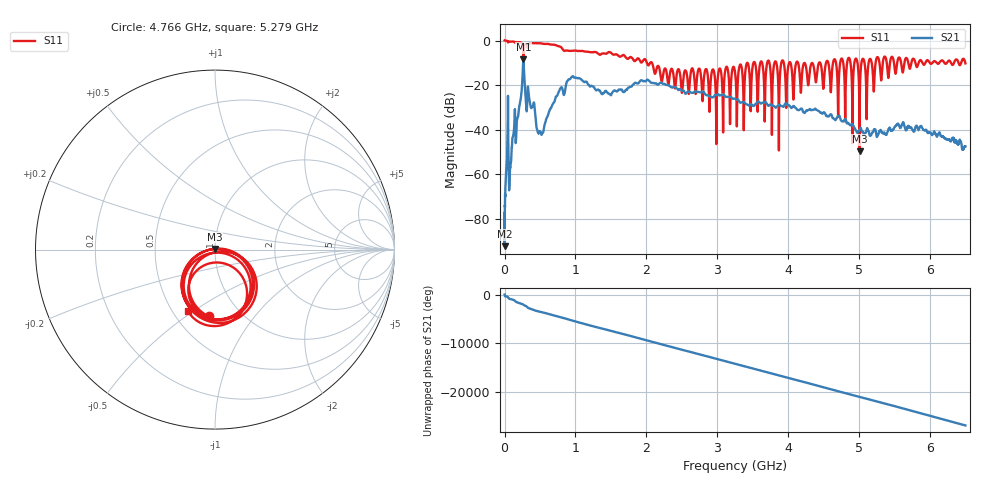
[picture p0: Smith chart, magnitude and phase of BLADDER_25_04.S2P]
!Keysight Technologies,E5063A,MY54503115,A.05.08
!Date: Sun Feb 04 18:21:10 2024
!Data & Calibration Information:
!Freq	S11:NONE(--)	S21:NONE(--)	S12:NONE(--)	S22:NONE(--)
# Hz S dB R 50
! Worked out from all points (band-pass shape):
!   10001 points, 100 kHz to 6.5 GHz, reference 50 ohm
!   highest |S21| = -8.34 dB at 264 MHz (marker M1); lowest = -92.2 dB at 750 kHz (marker M2)
!   |S21| within 3 dB of the highest: 259 MHz to 269.2 MHz (10.23 MHz wide, 3.87 % of centre)
!   lowest |S11| = -49.7 dB at 5.006 GHz (marker M3), VSWR 1.01, Z = 50 + j0.325 ohm
!   |S11| at or under -10 dB: 2.078 GHz to 3.42 GHz (1.342 GHz wide, 48.8 % of centre); 3.427 GHz to 3.51 GHz (82.61 MHz wide, 2.38 % of centre); 4.14 GHz to 4.435 GHz (295.4 MHz wide, 6.89 % of centre) (the widest 3 of 31)
!   S12 and S22 are empty: the file has one direction only
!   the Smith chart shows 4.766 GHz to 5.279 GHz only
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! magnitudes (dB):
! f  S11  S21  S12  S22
! 100 kHz  0.0  -77.3  -  -
! 750 kHz  0.0  -92.2  -  -
! 29.35 MHz  -0.1  -55.0  -  -
! 88.5 MHz  -0.5  -54.4  -  -
! 264 MHz  -7.6  -8.3  -  -
! 506.4 MHz  -1.2  -41.2  -  -
! 781.4 MHz  -2.7  -21.7  -  -
! 1.084 GHz  -4.7  -17.5  -  -
! 2.167 GHz  -11.4  -19.8  -  -
! 3.25 GHz  -14.1  -26.1  -  -
! 4.334 GHz  -10.1  -31.1  -  -
! 4.705 GHz  -34.3  -33.8  -  -
! 4.755 GHz  -8.0  -36.1  -  -
! 4.805 GHz  -36.3  -35.2  -  -
! 4.856 GHz  -7.7  -37.3  -  -
! 4.908 GHz  -39.0  -37.6  -  -
! 4.957 GHz  -8.1  -40.3  -  -
! 5.006 GHz  -49.7  -40.1  -  -
! 5.055 GHz  -8.2  -41.1  -  -
! 5.104 GHz  -26.8  -40.2  -  -
! 5.417 GHz  -16.2  -39.5  -  -
! 6.5 GHz  -10.2  -47.5  -  -
